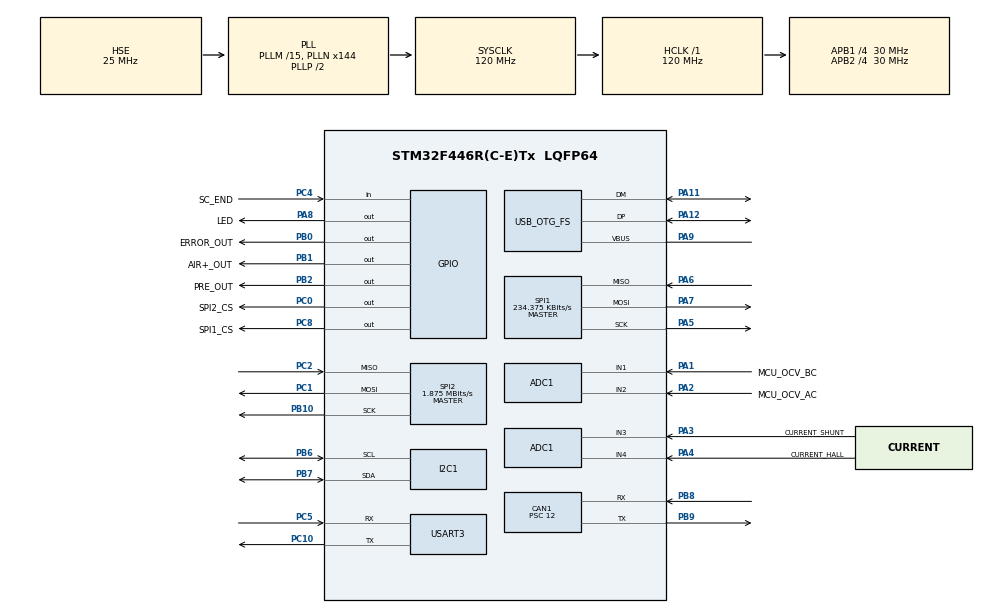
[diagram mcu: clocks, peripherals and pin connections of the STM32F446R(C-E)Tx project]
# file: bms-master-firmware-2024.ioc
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ADC1.Channel-0\#ChannelRegularConversion=ADC_CHANNEL_1
ADC1.Channel-1\#ChannelRegularConversion=ADC_CHANNEL_2
ADC1.Channel-2\#ChannelRegularConversion=ADC_CHANNEL_4
ADC1.ContinuousConvMode=ENABLE
ADC1.DMAContinuousRequests=ENABLE
ADC1.NbrOfConversion=3
ADC1.NbrOfConversionFlag=1
ADC1.Rank-0\#ChannelRegularConversion=1
ADC1.Rank-1\#ChannelRegularConversion=2
ADC1.Rank-2\#ChannelRegularConversion=3
ADC1.SamplingTime-0\#ChannelRegularConversion=ADC_SAMPLETIME_112CYCLES
ADC1.SamplingTime-1\#ChannelRegularConversion=ADC_SAMPLETIME_112CYCLES
ADC1.SamplingTime-2\#ChannelRegularConversion=ADC_SAMPLETIME_112CYCLES
ADC1.master=1
CAN1.BS1=CAN_BS1_3TQ
CAN1.BS2=CAN_BS2_1TQ
CAN1.CalculateBaudRate=500000
CAN1.CalculateTimeBit=2000
CAN1.CalculateTimeQuantum=400.0
CAN1.Mode=CAN_MODE_NORMAL
CAN1.Prescaler=12
Dma.ADC1.0.Direction=DMA_PERIPH_TO_MEMORY
Dma.ADC1.0.FIFOMode=DMA_FIFOMODE_DISABLE
Dma.ADC1.0.Instance=DMA2_Stream0
Dma.ADC1.0.MemDataAlignment=DMA_MDATAALIGN_HALFWORD
Dma.ADC1.0.MemInc=DMA_MINC_ENABLE
Dma.ADC1.0.Mode=DMA_CIRCULAR
Dma.ADC1.0.PeriphDataAlignment=DMA_PDATAALIGN_HALFWORD
Dma.ADC1.0.PeriphInc=DMA_PINC_DISABLE
Dma.ADC1.0.Priority=DMA_PRIORITY_LOW
Dma.Request0=ADC1
I2C1.I2C_Mode=I2C_Fast
Mcu.Family=STM32F4
Mcu.Name=STM32F446R(C-E)Tx
Mcu.Package=LQFP64
NVIC.ADC_IRQn=true\:0\:0\:true\:false\:true\:true\:true\:true
NVIC.CAN1_RX0_IRQn=true\:6\:0\:true\:false\:true\:true\:true\:true
NVIC.CAN1_RX1_IRQn=true\:6\:0\:true\:false\:true\:true\:true\:true
NVIC.DMA2_Stream0_IRQn=true\:0\:0\:false\:false\:true\:false\:true\:true
NVIC.OTG_FS_IRQn=true\:5\:0\:true\:false\:true\:false\:true\:true
NVIC.PriorityGroup=NVIC_PRIORITYGROUP_4
NVIC.TIM6_DAC_IRQn=true\:15\:0\:false\:false\:true\:false\:true\:true
NVIC.TimeBase=TIM6_DAC_IRQn
NVIC.TimeBaseIP=TIM6
PA1.GPIO_Label=MCU_OCV_BC
PA1.Signal=ADCx_IN1
PA11.Mode=Device_Only
PA11.Signal=USB_OTG_FS_DM
PA12.Mode=Device_Only
PA12.Signal=USB_OTG_FS_DP
PA13.Mode=Serial_Wire
PA13.Signal=SYS_JTMS-SWDIO
PA14.Mode=Serial_Wire
PA14.Signal=SYS_JTCK-SWCLK
PA2.GPIO_Label=MCU_OCV_AC
PA2.Signal=ADCx_IN2
PA3.GPIO_Label=CURRENT_SHUNT
PA3.Signal=ADCx_IN3
PA4.GPIO_Label=CURRENT_HALL
PA4.Signal=ADCx_IN4
PA5.Mode=Full_Duplex_Master
PA5.Signal=SPI1_SCK
PA6.Mode=Full_Duplex_Master
PA6.Signal=SPI1_MISO
PA7.Mode=Full_Duplex_Master
PA7.Signal=SPI1_MOSI
PA8.GPIO_Label=LED
PA8.GPIO_Speed=GPIO_SPEED_FREQ_VERY_HIGH
PA8.Signal=GPIO_Output
PA9.Mode=Activate_VBUS
PA9.Signal=USB_OTG_FS_VBUS
PB0.GPIO_Label=ERROR_OUT
PB0.PinState=GPIO_PIN_RESET
PB0.Signal=GPIO_Output
PB1.GPIO_Label=AIR+_OUT
PB1.Signal=GPIO_Output
PB10.Mode=Full_Duplex_Master
PB10.Signal=SPI2_SCK
PB2.GPIO_Label=PRE_OUT
PB2.Signal=GPIO_Output
PB6.Mode=I2C
PB6.Signal=I2C1_SCL
PB7.Mode=I2C
PB7.Signal=I2C1_SDA
PB8.Mode=CAN_Activate
PB8.Signal=CAN1_RX
PB9.Mode=CAN_Activate
PB9.Signal=CAN1_TX
PC0.GPIO_Label=SPI2_CS
PC0.GPIO_PuPd=GPIO_NOPULL
PC0.GPIO_Speed=GPIO_SPEED_FREQ_VERY_HIGH
PC0.PinState=GPIO_PIN_SET
PC0.Signal=GPIO_Output
PC1.Mode=Full_Duplex_Master
PC1.Signal=SPI2_MOSI
PC10.Mode=Asynchronous
PC10.Signal=USART3_TX
PC2.Mode=Full_Duplex_Master
PC2.Signal=SPI2_MISO
PC4.GPIO_Label=SC_END
PC4.Signal=GPIO_Input
PC5.Mode=Asynchronous
PC5.Signal=USART3_RX
PC8.GPIO_Label=SPI1_CS
PC8.GPIO_ModeDefaultOutputPP=GPIO_MODE_OUTPUT_PP
PC8.GPIO_PuPd=GPIO_NOPULL
PC8.GPIO_Speed=GPIO_SPEED_FREQ_VERY_HIGH
PC8.PinState=GPIO_PIN_SET
PC8.Signal=GPIO_Output
PH0-OSC_IN.Mode=HSE-External-Oscillator
PH0-OSC_IN.Signal=RCC_OSC_IN
PH1-OSC_OUT.Mode=HSE-External-Oscillator
PH1-OSC_OUT.Signal=RCC_OSC_OUT
ProjectManager.HeapSize=0x200
ProjectManager.StackSize=0x400
ProjectManager.TargetToolchain=STM32CubeIDE
RCC.AHBFreq_Value=120000000
RCC.APB1CLKDivider=RCC_HCLK_DIV4
RCC.APB1Freq_Value=30000000
RCC.APB1TimFreq_Value=60000000
RCC.APB2CLKDivider=RCC_HCLK_DIV4
RCC.APB2Freq_Value=30000000
RCC.APB2TimFreq_Value=60000000
RCC.CortexFreq_Value=120000000
RCC.HCLKFreq_Value=120000000
RCC.HSE_Timout=3000
RCC.HSE_VALUE=25000000
RCC.PLLM=15
RCC.PLLN=144
RCC.PLLQ=5
RCC.PLLSAIM=12
RCC.PLLSAIN=96
RCC.PLLSAIP=RCC_PLLSAIP_DIV4
RCC.PLLSourceVirtual=RCC_PLLSOURCE_HSE
RCC.SYSCLKFreq_VALUE=120000000
RCC.SYSCLKSource=RCC_SYSCLKSOURCE_PLLCLK
RCC.USBFreq_Value=48000000
RCC.VCOOutputFreq_Value=240000000
SH.ADCx_IN1.0=ADC1_IN1,IN1
SH.ADCx_IN2.0=ADC1_IN2,IN2
SH.ADCx_IN3.0=ADC1_IN3,IN3
SH.ADCx_IN4.0=ADC1_IN4,IN4
SPI1.BaudRatePrescaler=SPI_BAUDRATEPRESCALER_128
SPI1.CLKPhase=SPI_PHASE_1EDGE
SPI1.CLKPolarity=SPI_POLARITY_LOW
SPI1.CalculateBaudRate=234.375 KBits/s
SPI1.Direction=SPI_DIRECTION_2LINES
SPI1.FirstBit=SPI_FIRSTBIT_MSB
SPI1.Mode=SPI_MODE_MASTER
SPI1.VirtualType=VM_MASTER
SPI2.BaudRatePrescaler=SPI_BAUDRATEPRESCALER_16
SPI2.CalculateBaudRate=1.875 MBits/s
SPI2.Direction=SPI_DIRECTION_2LINES
SPI2.Mode=SPI_MODE_MASTER
SPI2.VirtualType=VM_MASTER
TIM1.Prescaler=60000-1
TIM2.Period=1000-1
TIM2.Prescaler=56
USART3.VirtualMode=VM_ASYNC
USB_DEVICE.CLASS_NAME_FS=CDC
USB_DEVICE.PRODUCT_STRING_CDC_FS=ITU RACING BMS
USB_DEVICE.VirtualMode-CDC_FS=Cdc
USB_DEVICE.VirtualModeFS=Cdc_FS
USB_OTG_FS.VirtualMode=Device_Only
VP_SYS_VS_tim6.Mode=TIM6
VP_TIM1_VS_ClockSourceINT.Mode=Internal
VP_TIM2_VS_ClockSourceINT.Mode=Internal
VP_USB_DEVICE_VS_USB_DEVICE_CDC_FS.Mode=CDC_FS
board=custom

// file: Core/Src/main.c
/* USER CODE BEGIN Header */
/**
 ******************************************************************************
 * @file           : main.c
 * @brief          : Main program body
 ******************************************************************************
 * @attention
 *
 * Copyright (c) 2024 STMicroelectronics.
 * All rights reserved.
 *
 * This software is licensed under terms that can be found in the LICENSE file
 * in the root directory of this software component.
 * If no LICENSE file comes with this software, it is provided AS-IS.
 *
 ******************************************************************************
 */
/* USER CODE END Header */
#include "main.h"
#include "usb_device.h"

/* USER CODE BEGIN Includes */
#include "ADBMS.h"
#include "stdio.h"
#include "String.h"
#include "usbd_cdc_if.h"
#include "adBms6830Data.h"

//SoC
#include "BatterySOCEstimationV2.h"
#include "rtwtypes.h"

//FREERTOS
#include "FreeRTOS.h"
//#include "SEGGER_SYSVIEW.h"
#include "task.h"

/* USER CODE END Includes */

/* USER CODE BEGIN PD */
#define total_ic 6

extern I2C_HandleTypeDef hi2c1;

#define EEPROM_I2C &hi2c1

#define EEPROM_ADDR 0xA0

#define PAGE_SIZE 128     // in Bytes
#define PAGE_NUM  512    // number of pages
#define PUTCHAR_PROTOTYPE int __io_putchar(int ch)

/* USER CODE END PD */

ADC_HandleTypeDef hadc1;
DMA_HandleTypeDef hdma_adc1;

CAN_HandleTypeDef hcan1;

I2C_HandleTypeDef hi2c1;

SPI_HandleTypeDef hspi1;
SPI_HandleTypeDef hspi2;

TIM_HandleTypeDef htim1;
TIM_HandleTypeDef htim2;

UART_HandleTypeDef huart3;

/* USER CODE BEGIN PV */
cell_asic ic[total_ic];

uint16_t adc = 0;
uint16_t convCount = 0;
uint32_t adc_data[3];
uint16_t adc_buffer[3];
uint16_t analogAveragingBuffer[500][3] = {0};

uint16_t MAINBUFFER[40] = { 0 };

CAN_TxHeaderTypeDef TxHeader;
CAN_RxHeaderTypeDef RxHeader;

uint8_t RxData[8];
uint8_t TxData[8];
uint32_t TxMailbox;

uint8_t* usbbuf;
uint8_t usblen;

uint8_t VCUflag = 0;
uint8_t Chargerflag = 0;

uint8_t VehicleMode = 0;

//FREERTOS
TaskHandle_t VoltageRead;
TaskHandle_t Temp_OWire;
TaskHandle_t Measure_Precharge;
TaskHandle_t ChargeControl;
TaskHandle_t VCUcom;
TaskHandle_t USBTASK;
TaskHandle_t SoCTASK;

/* USER CODE END PV */

void SystemClock_Config(void);
static void MX_GPIO_Init(void);
static void MX_DMA_Init(void);
static void MX_ADC1_Init(void);
static void MX_TIM2_Init(void);
static void MX_SPI1_Init(void);
static void MX_SPI2_Init(void);
static void MX_I2C1_Init(void);
static void MX_USART3_UART_Init(void);
static void MX_TIM1_Init(void);
static void MX_CAN1_Init(void);
/* USER CODE BEGIN PFP */
static void vVoltageRead(void *parameter);
static void vTemp_OWire(void *parameter);
static void vMeasure_Precharge(void *parameter);
static void vChargeControl(void *parameter);
static void vVCUcom(void *parameter);
static void vUSBTASK(void *parameter);
static void vSoCTASK(void *parameter);
void faultLatch();
uint8_t IsSCActive();

/* USER CODE END PFP */

/* USER CODE BEGIN 0 */

#define DEV_ADDR 0xa0
uint8_t dataw1[] = "vay anam babam be burasi resmen bir harika\n";
uint8_t dataw2[] = "agalarlabms";
float dataw3 = 123.31;

// 5. sayfanın ilk iki byte'ı bozuk.

uint8_t datar1[100];
uint8_t datar2[100];
float datar3;

float volt_bc = 0;
float volt_ac = 0;

/* USER CODE END 0 */

int main(void)
{

  /* MCU Configuration--------------------------------------------------------*/

  /* Reset of all peripherals, Initializes the Flash interface and the Systick. */
  HAL_Init();

  /* Configure the system clock */
  SystemClock_Config();

  /* Initialize all configured peripherals */
  MX_GPIO_Init();
  MX_DMA_Init();
  MX_ADC1_Init();
  MX_TIM2_Init();
  MX_SPI1_Init();
  MX_SPI2_Init();
  MX_I2C1_Init();
  MX_USART3_UART_Init();
  MX_TIM1_Init();
  MX_USB_DEVICE_Init();
  MX_CAN1_Init();
  /* USER CODE BEGIN 2 */

  HAL_Delay(1000);

//  MAINBUFFER[CHARGER_SET_VOLTAGE] = 4030;
//  MAINBUFFER[CHARGER_SET_CURRENT] = 60;
//  MAINBUFFER[ALLOWED_DISBALANCE] = 100;
//  MAINBUFFER[CHARGE_CURRENT] =(uint16_t) -60;
//  MAINBUFFER[PRECHARGE_PERCENTAGE] = 90;
//  MAINBUFFER[PRECHARGE_TIMEOUT] = 4000;
//  MAINBUFFER[CHARGE_OVER_CURRENT_TRESHOLD] = -500;
//  MAINBUFFER[DISCHARGE_OVER_CURRENT_TRESHOLD] = 3500;
//  MAINBUFFER[OVER_VOLTAGE_ERROR_DELAY] = 100;
//  MAINBUFFER[UNDER_VOLTAGE_ERROR_DELAY] = 100;
//  MAINBUFFER[OVER_CURRENT_ERROR_DELAY] = 100;
//  MAINBUFFER[OPEN_WIRE_ERROR_DELAY] = 100;
//  MAINBUFFER[HEAT_ERROR_DELAY] = 100;
//
//
//   EEPROM_SetConfigs((uint8_t *) MAINBUFFER, sizeof(MAINBUFFER));
//

    EEPROM_GetConfigs((uint8_t *) MAINBUFFER, sizeof(MAINBUFFER));
    MAINBUFFER[34]=-31.31;
    MAINBUFFER[33]= 4000;
    MAINBUFFER[CHARGER_SET_VOLTAGE] = 40310;

	HAL_ADC_Start_DMA(&hadc1,  adc_buffer, 3);
	HAL_CAN_Start(&hcan1);
	HAL_CAN_ActivateNotification(&hcan1, CAN_IT_RX_FIFO0_MSG_PENDING);
//	HAL_GPIO_WritePin(GPIO, GPIO_Pin, PinState)
	TxHeader.IDE = CAN_ID_STD;
	TxHeader.StdId = 0x00; //değişecek
	TxHeader.RTR = CAN_RTR_DATA;
	TxHeader.DLC = 8; //değişebilir

//	if(HAL_CAN_AddTxMessage(&hcan1, &TxHeader, TxData, &TxMailbox) != HAL_OK){
//		Error_Handler();
//	}

//	HAL_TIM_Base_Start(&htim1);

	adBms6830_init_config(total_ic, &ic[0]);

//	CDC_Transmit_FS(txdata, sizeof("Hello World from USB CDC\n"));
//while(1){
//
//		adBms6830_start_raux_voltage_measurment(total_ic,&ic[0]);
//				adBms6830_read_raux_voltages(total_ic,&ic[0]);
//
////				adBms6830_start_adc_cell_voltage_measurment(total_ic);
////				adBms6830_read_cell_voltages(total_ic,&ic[0]);
////		adBms6830tempMesurementand_open_wire_detection(total_ic,&ic[0]);
////				HAL_Delay(500);
////		for(uint8_t icCounter = 0; icCounter < 5; icCounter++){
////			adBmsCsLow();
////			HAL_Delay(4);
////			adBmsCsHigh();
//			HAL_Delay(150);
//}

//	union  CAN_Union {
//		uint8_t sendBuffer8bit[8];
//	    uint16_t sendBuffer16bit[4];
//	}canSend;
//
//	HAL_GPIO_WritePin(ERROR_OUT_GPIO_Port, ERROR_OUT_Pin, 1);
//	while(1){
////		TxHeader.IDE = CAN_ID_STD;
////		TxHeader.StdId = BMS_CAN_ID_VOLTAGES;
////		canSend.sendBuffer16bit[0] = 0X31;
////		canSend.sendBuffer16bit[1] = 0X31;
////		canSend.sendBuffer16bit[2] = 0X31;
////		canSend.sendBuffer16bit[3] = 0X31;
////		HAL_CAN_AddTxMessage(&hcan1, &TxHeader, canSend.sendBuffer8bit, &TxMailbox);
//
//		HAL_Delay(3000);
//
//		HAL_GPIO_TogglePin(PRE_OUT_GPIO_Port, PRE_OUT_Pin);
//
//		HAL_GPIO_TogglePin(AIR__OUT_GPIO_Port, AIR__OUT_Pin);
//
//
//		}
//
//		HAL_GPIO_WritePin(ERROR_OUT_GPIO_Port, ERROR_OUT_Pin, 0);
//		HAL_Delay(500);
//		HAL_GPIO_WritePin(ERROR_OUT_GPIO_Port, ERROR_OUT_Pin, 1);
//		HAL_Delay(500);
//
//
//	}

	//FREERTOS TASK CREATION PART

	//SEGGER_SYSVIEW_Conf();
	//SEGGER_SYSVIEW_Start();

	xTaskCreate(vVoltageRead, "VoltageRead", 300, NULL, 2, &VoltageRead);
	xTaskCreate(vTemp_OWire, "Temp_OWire", 400, NULL, 3, &Temp_OWire);
	xTaskCreate(vMeasure_Precharge, "Measure_Precharge", 200, NULL, 1, &Measure_Precharge);
	xTaskCreate(vChargeControl, "ChargeControl", 200, NULL, 5, &ChargeControl);
	xTaskCreate(vVCUcom, "VCUcom", 200, NULL, 6, &VCUcom);
	xTaskCreate(vUSBTASK, "USBTASK", 200, NULL, 15, &USBTASK);
	xTaskCreate(vSoCTASK, "SoCTASK", 200, NULL, 4, &SoCTASK);
	vTaskStartScheduler();

  /* USER CODE END 2 */

  /* Infinite loop */
	while (1) {

	}
}

void SystemClock_Config(void)
{
  RCC_OscInitTypeDef RCC_OscInitStruct = {0};
  RCC_ClkInitTypeDef RCC_ClkInitStruct = {0};

  /** Configure the main internal regulator output voltage
  */
  __HAL_RCC_PWR_CLK_ENABLE();
  __HAL_PWR_VOLTAGESCALING_CONFIG(PWR_REGULATOR_VOLTAGE_SCALE3);

  /** Initializes the RCC Oscillators according to the specified parameters
  * in the RCC_OscInitTypeDef structure.
  */
  RCC_OscInitStruct.OscillatorType = RCC_OSCILLATORTYPE_HSE;
  RCC_OscInitStruct.HSEState = RCC_HSE_ON;
  RCC_OscInitStruct.PLL.PLLState = RCC_PLL_ON;
  RCC_OscInitStruct.PLL.PLLSource = RCC_PLLSOURCE_HSE;
  RCC_OscInitStruct.PLL.PLLM = 15;
  RCC_OscInitStruct.PLL.PLLN = 144;
  RCC_OscInitStruct.PLL.PLLP = RCC_PLLP_DIV2;
  RCC_OscInitStruct.PLL.PLLQ = 5;
  RCC_OscInitStruct.PLL.PLLR = 2;
  if (HAL_RCC_OscConfig(&RCC_OscInitStruct) != HAL_OK)
  {
    Error_Handler();
  }

  /** Initializes the CPU, AHB and APB buses clocks
  */
  RCC_ClkInitStruct.ClockType = RCC_CLOCKTYPE_HCLK|RCC_CLOCKTYPE_SYSCLK
                              |RCC_CLOCKTYPE_PCLK1|RCC_CLOCKTYPE_PCLK2;
  RCC_ClkInitStruct.SYSCLKSource = RCC_SYSCLKSOURCE_PLLCLK;
  RCC_ClkInitStruct.AHBCLKDivider = RCC_SYSCLK_DIV1;
  RCC_ClkInitStruct.APB1CLKDivider = RCC_HCLK_DIV4;
  RCC_ClkInitStruct.APB2CLKDivider = RCC_HCLK_DIV4;

  if (HAL_RCC_ClockConfig(&RCC_ClkInitStruct, FLASH_LATENCY_3) != HAL_OK)
  {
    Error_Handler();
  }
}

static void MX_ADC1_Init(void)
{

  ADC_ChannelConfTypeDef sConfig = {0};

  /** Configure the global features of the ADC (Clock, Resolution, Data Alignment and number of conversion)
  */
  hadc1.Instance = ADC1;
  hadc1.Init.ClockPrescaler = ADC_CLOCK_SYNC_PCLK_DIV2;
  hadc1.Init.Resolution = ADC_RESOLUTION_12B;
  hadc1.Init.ScanConvMode = ENABLE;
  hadc1.Init.ContinuousConvMode = ENABLE;
  hadc1.Init.DiscontinuousConvMode = DISABLE;
  hadc1.Init.ExternalTrigConvEdge = ADC_EXTERNALTRIGCONVEDGE_NONE;
  hadc1.Init.ExternalTrigConv = ADC_SOFTWARE_START;
  hadc1.Init.DataAlign = ADC_DATAALIGN_RIGHT;
  hadc1.Init.NbrOfConversion = 3;
  hadc1.Init.DMAContinuousRequests = ENABLE;
  hadc1.Init.EOCSelection = ADC_EOC_SINGLE_CONV;
  if (HAL_ADC_Init(&hadc1) != HAL_OK)
  {
    Error_Handler();
  }

  /** Configure for the selected ADC regular channel its corresponding rank in the sequencer and its sample time.
  */
  sConfig.Channel = ADC_CHANNEL_1;
  sConfig.Rank = 1;
  sConfig.SamplingTime = ADC_SAMPLETIME_112CYCLES;
  if (HAL_ADC_ConfigChannel(&hadc1, &sConfig) != HAL_OK)
  {
    Error_Handler();
  }

  /** Configure for the selected ADC regular channel its corresponding rank in the sequencer and its sample time.
  */
  sConfig.Channel = ADC_CHANNEL_2;
  sConfig.Rank = 2;
  if (HAL_ADC_ConfigChannel(&hadc1, &sConfig) != HAL_OK)
  {
    Error_Handler();
  }

  /** Configure for the selected ADC regular channel its corresponding rank in the sequencer and its sample time.
  */
  sConfig.Channel = ADC_CHANNEL_4;
  sConfig.Rank = 3;
  if (HAL_ADC_ConfigChannel(&hadc1, &sConfig) != HAL_OK)
  {
    Error_Handler();
  }

}

static void MX_CAN1_Init(void)
{

  hcan1.Instance = CAN1;
  hcan1.Init.Prescaler = 12;
  hcan1.Init.Mode = CAN_MODE_NORMAL;
  hcan1.Init.SyncJumpWidth = CAN_SJW_1TQ;
  hcan1.Init.TimeSeg1 = CAN_BS1_3TQ;
  hcan1.Init.TimeSeg2 = CAN_BS2_1TQ;
  hcan1.Init.TimeTriggeredMode = DISABLE;
  hcan1.Init.AutoBusOff = DISABLE;
  hcan1.Init.AutoWakeUp = DISABLE;
  hcan1.Init.AutoRetransmission = DISABLE;
  hcan1.Init.ReceiveFifoLocked = DISABLE;
  hcan1.Init.TransmitFifoPriority = DISABLE;
  if (HAL_CAN_Init(&hcan1) != HAL_OK)
  {
    Error_Handler();
  }
  /* USER CODE BEGIN CAN1_Init 2 */
  CAN_FilterTypeDef canfilterconfig;

  canfilterconfig.FilterActivation = CAN_FILTER_ENABLE;
  canfilterconfig.FilterBank = 18;  // which filter bank to use from the assigned ones
  canfilterconfig.FilterFIFOAssignment = CAN_FILTER_FIFO0;
  canfilterconfig.FilterIdHigh = 0x00;
  canfilterconfig.FilterIdLow = 0x00;
  canfilterconfig.FilterMaskIdHigh = 0x00;
  canfilterconfig.FilterMaskIdLow = 0x00;
  canfilterconfig.FilterMode = CAN_FILTERMODE_IDMASK;
  canfilterconfig.FilterScale = CAN_FILTERSCALE_32BIT;
  canfilterconfig.SlaveStartFilterBank = 20;  // how many filters to assign to the CAN1 (master can)

  HAL_CAN_ConfigFilter(&hcan1, &canfilterconfig);
  /* USER CODE END CAN1_Init 2 */

}

static void MX_I2C1_Init(void)
{

  hi2c1.Instance = I2C1;
  hi2c1.Init.ClockSpeed = 400000;
  hi2c1.Init.DutyCycle = I2C_DUTYCYCLE_2;
  hi2c1.Init.OwnAddress1 = 0;
  hi2c1.Init.AddressingMode = I2C_ADDRESSINGMODE_7BIT;
  hi2c1.Init.DualAddressMode = I2C_DUALADDRESS_DISABLE;
  hi2c1.Init.OwnAddress2 = 0;
  hi2c1.Init.GeneralCallMode = I2C_GENERALCALL_DISABLE;
  hi2c1.Init.NoStretchMode = I2C_NOSTRETCH_DISABLE;
  if (HAL_I2C_Init(&hi2c1) != HAL_OK)
  {
    Error_Handler();
  }

}

static void MX_SPI1_Init(void)
{

  /* SPI1 parameter configuration*/
  hspi1.Instance = SPI1;
  hspi1.Init.Mode = SPI_MODE_MASTER;
  hspi1.Init.Direction = SPI_DIRECTION_2LINES;
  hspi1.Init.DataSize = SPI_DATASIZE_8BIT;
  hspi1.Init.CLKPolarity = SPI_POLARITY_LOW;
  hspi1.Init.CLKPhase = SPI_PHASE_1EDGE;
  hspi1.Init.NSS = SPI_NSS_SOFT;
  hspi1.Init.BaudRatePrescaler = SPI_BAUDRATEPRESCALER_128;
  hspi1.Init.FirstBit = SPI_FIRSTBIT_MSB;
  hspi1.Init.TIMode = SPI_TIMODE_DISABLE;
  hspi1.Init.CRCCalculation = SPI_CRCCALCULATION_DISABLE;
  hspi1.Init.CRCPolynomial = 10;
  if (HAL_SPI_Init(&hspi1) != HAL_OK)
  {
    Error_Handler();
  }

}

static void MX_SPI2_Init(void)
{

  /* SPI2 parameter configuration*/
  hspi2.Instance = SPI2;
  hspi2.Init.Mode = SPI_MODE_MASTER;
  hspi2.Init.Direction = SPI_DIRECTION_2LINES;
  hspi2.Init.DataSize = SPI_DATASIZE_8BIT;
  hspi2.Init.CLKPolarity = SPI_POLARITY_LOW;
  hspi2.Init.CLKPhase = SPI_PHASE_1EDGE;
  hspi2.Init.NSS = SPI_NSS_SOFT;
  hspi2.Init.BaudRatePrescaler = SPI_BAUDRATEPRESCALER_16;
  hspi2.Init.FirstBit = SPI_FIRSTBIT_MSB;
  hspi2.Init.TIMode = SPI_TIMODE_DISABLE;
  hspi2.Init.CRCCalculation = SPI_CRCCALCULATION_DISABLE;
  hspi2.Init.CRCPolynomial = 10;
  if (HAL_SPI_Init(&hspi2) != HAL_OK)
  {
    Error_Handler();
  }

}

static void MX_TIM1_Init(void)
{

  TIM_ClockConfigTypeDef sClockSourceConfig = {0};
  TIM_MasterConfigTypeDef sMasterConfig = {0};

  htim1.Instance = TIM1;
  htim1.Init.Prescaler = 60000-1;
  htim1.Init.CounterMode = TIM_COUNTERMODE_UP;
  htim1.Init.Period = 65535;
  htim1.Init.ClockDivision = TIM_CLOCKDIVISION_DIV1;
  htim1.Init.RepetitionCounter = 0;
  htim1.Init.AutoReloadPreload = TIM_AUTORELOAD_PRELOAD_DISABLE;
  if (HAL_TIM_Base_Init(&htim1) != HAL_OK)
  {
    Error_Handler();
  }
  sClockSourceConfig.ClockSource = TIM_CLOCKSOURCE_INTERNAL;
  if (HAL_TIM_ConfigClockSource(&htim1, &sClockSourceConfig) != HAL_OK)
  {
    Error_Handler();
  }
  sMasterConfig.MasterOutputTrigger = TIM_TRGO_RESET;
  sMasterConfig.MasterSlaveMode = TIM_MASTERSLAVEMODE_DISABLE;
  if (HAL_TIMEx_MasterConfigSynchronization(&htim1, &sMasterConfig) != HAL_OK)
  {
    Error_Handler();
  }

}

static void MX_TIM2_Init(void)
{

  TIM_ClockConfigTypeDef sClockSourceConfig = {0};
  TIM_MasterConfigTypeDef sMasterConfig = {0};

  htim2.Instance = TIM2;
  htim2.Init.Prescaler = 56;
  htim2.Init.CounterMode = TIM_COUNTERMODE_UP;
  htim2.Init.Period = 1000-1;
  htim2.Init.ClockDivision = TIM_CLOCKDIVISION_DIV1;
  htim2.Init.AutoReloadPreload = TIM_AUTORELOAD_PRELOAD_DISABLE;
  if (HAL_TIM_Base_Init(&htim2) != HAL_OK)
  {
    Error_Handler();
  }
  sClockSourceConfig.ClockSource = TIM_CLOCKSOURCE_INTERNAL;
  if (HAL_TIM_ConfigClockSource(&htim2, &sClockSourceConfig) != HAL_OK)
  {
    Error_Handler();
  }
  sMasterConfig.MasterOutputTrigger = TIM_TRGO_RESET;
  sMasterConfig.MasterSlaveMode = TIM_MASTERSLAVEMODE_DISABLE;
  if (HAL_TIMEx_MasterConfigSynchronization(&htim2, &sMasterConfig) != HAL_OK)
  {
    Error_Handler();
  }

}

static void MX_USART3_UART_Init(void)
{

  huart3.Instance = USART3;
  huart3.Init.BaudRate = 115200;
  huart3.Init.WordLength = UART_WORDLENGTH_8B;
  huart3.Init.StopBits = UART_STOPBITS_1;
  huart3.Init.Parity = UART_PARITY_NONE;
  huart3.Init.Mode = UART_MODE_TX_RX;
  huart3.Init.HwFlowCtl = UART_HWCONTROL_NONE;
  huart3.Init.OverSampling = UART_OVERSAMPLING_16;
  if (HAL_UART_Init(&huart3) != HAL_OK)
  {
    Error_Handler();
  }

}

static void MX_DMA_Init(void)
{

  /* DMA controller clock enable */
  __HAL_RCC_DMA2_CLK_ENABLE();

  /* DMA interrupt init */
  /* DMA2_Stream0_IRQn interrupt configuration */
  HAL_NVIC_SetPriority(DMA2_Stream0_IRQn, 0, 0);
  HAL_NVIC_EnableIRQ(DMA2_Stream0_IRQn);

}

static void MX_GPIO_Init(void)
{
  GPIO_InitTypeDef GPIO_InitStruct = {0};

  /* GPIO Ports Clock Enable */
  __HAL_RCC_GPIOH_CLK_ENABLE();
  __HAL_RCC_GPIOC_CLK_ENABLE();
  __HAL_RCC_GPIOA_CLK_ENABLE();
  __HAL_RCC_GPIOB_CLK_ENABLE();

  /*Configure GPIO pin Output Level */
  HAL_GPIO_WritePin(GPIOC, SPI2_CS_Pin|SPI1_CS_Pin, GPIO_PIN_SET);

  /*Configure GPIO pin Output Level */
  HAL_GPIO_WritePin(GPIOB, ERROR_OUT_Pin|AIR__OUT_Pin|PRE_OUT_Pin, GPIO_PIN_RESET);

  /*Configure GPIO pin Output Level */
  HAL_GPIO_WritePin(LED_GPIO_Port, LED_Pin, GPIO_PIN_RESET);

  /*Configure GPIO pins : SPI2_CS_Pin SPI1_CS_Pin */
  GPIO_InitStruct.Pin = SPI2_CS_Pin|SPI1_CS_Pin;
  GPIO_InitStruct.Mode = GPIO_MODE_OUTPUT_PP;
  GPIO_InitStruct.Pull = GPIO_NOPULL;
  GPIO_InitStruct.Speed = GPIO_SPEED_FREQ_VERY_HIGH;
  HAL_GPIO_Init(GPIOC, &GPIO_InitStruct);

  /*Configure GPIO pin : SC_END_Pin */
  GPIO_InitStruct.Pin = SC_END_Pin;
  GPIO_InitStruct.Mode = GPIO_MODE_INPUT;
  GPIO_InitStruct.Pull = GPIO_NOPULL;
  HAL_GPIO_Init(SC_END_GPIO_Port, &GPIO_InitStruct);

  /*Configure GPIO pins : ERROR_OUT_Pin AIR__OUT_Pin PRE_OUT_Pin */
  GPIO_InitStruct.Pin = ERROR_OUT_Pin|AIR__OUT_Pin|PRE_OUT_Pin;
  GPIO_InitStruct.Mode = GPIO_MODE_OUTPUT_PP;
  GPIO_InitStruct.Pull = GPIO_NOPULL;
  GPIO_InitStruct.Speed = GPIO_SPEED_FREQ_LOW;
  HAL_GPIO_Init(GPIOB, &GPIO_InitStruct);

  /*Configure GPIO pin : LED_Pin */
  GPIO_InitStruct.Pin = LED_Pin;
  GPIO_InitStruct.Mode = GPIO_MODE_OUTPUT_PP;
  GPIO_InitStruct.Pull = GPIO_NOPULL;
  GPIO_InitStruct.Speed = GPIO_SPEED_FREQ_VERY_HIGH;
  HAL_GPIO_Init(LED_GPIO_Port, &GPIO_InitStruct);

}

/* USER CODE BEGIN 4 */

void HAL_CAN_RxFifo0MsgPendingCallback(CAN_HandleTypeDef *hcan){

	BaseType_t pxHigherPriorityTaskWoken = pdFALSE;

	if(HAL_CAN_GetRxMessage(hcan, CAN_RX_FIFO0, &RxHeader, RxData)!= HAL_OK)
	{
		Error_Handler();
	}

	if(RxHeader.IDE == CAN_ID_STD)
	{
		if(RxHeader.StdId == VCU_ID)
		{
			vTaskNotifyGiveFromISR(VCUcom,&pxHigherPriorityTaskWoken);
			portYIELD_FROM_ISR(pxHigherPriorityTaskWoken);
			VCUflag = 1;
		}
	}
	else
	{
		if(RxHeader.ExtId == CHARGER_ID)
		{
			vTaskNotifyGiveFromISR(ChargeControl,&pxHigherPriorityTaskWoken);
			portYIELD_FROM_ISR(pxHigherPriorityTaskWoken);
			Chargerflag = 1;
		}

	}

}

static void vVoltageRead(void *parameter) {

	uint8_t pecflag = 0;
	uint8_t underVoltageflag = 0;
	uint8_t overVoltageflag = 0;
	uint8_t dummyflag = 0;

	uint32_t SlaveOpenWiretick = 0;
	uint32_t OverVoltagetick = 0;
	uint32_t UnderVoltagetick = 0;

	float TotalVoltage = 0;
	float MaxCellVoltage = 0;
	float MinCellVoltage = 0;

	for (;;) {

		//SECTION OF VOLTAGE READING AND DETECTION OF OVER AND UNDER VOLTAGE
		//
		//

		taskENTER_CRITICAL();
		adBmsWakeupIc(total_ic);
		adBmsWriteData(total_ic, &ic[0], WRCFGA, Config, A);
		adBmsWriteData(total_ic, &ic[0], WRCFGB, Config, B);
		adBmsWakeupIc(total_ic);
		adBms6830_Adcv_ALL(REDUNDANT_MEASUREMENT, CONTINUOUS, DISCHARGE_PERMITTED,
				RESET_FILTER, CELL_OPEN_WIRE_DETECTION,total_ic);
		vTaskDelay(1); // ADCs are updated at their conversion rate is 1ms
		adBms6830_Adcv_ALL(RD_ON, CONTINUOUS, DISCHARGE_PERMITTED, RESET_FILTER,
				CELL_OPEN_WIRE_DETECTION,total_ic);
		vTaskDelay(1); // ADCs are updated at their conversion rate is 1ms
		adBmsReadData(total_ic, &ic[0], RDCVA, Cell, A);
		adBmsReadData(total_ic, &ic[0], RDCVB, Cell, B);
		adBmsReadData(total_ic, &ic[0], RDCVC, Cell, C);
		adBmsReadData(total_ic, &ic[0], RDCVD, Cell, D);
		adBmsReadData(total_ic, &ic[0], RDCVE, Cell, E);
		adBmsReadData(total_ic, &ic[0], RDCVF, Cell, F);
		taskEXIT_CRITICAL();

		for (uint8_t icCounter = 0; icCounter < total_ic; icCounter++) {
			for (uint8_t cellCounter = 0; cellCounter < 16; cellCounter++) {
				//openwire check
				if (ic[icCounter].cccrc.cell_pec == 1){
					pecflag = 1;
				}
				else {
					if(ic[icCounter].cell.c_codes[cellCounter]>0){
						ic[icCounter].mesured_cell_voltages[cellCounter] =
								getVoltage(ic[icCounter].cell.c_codes[cellCounter]);
					}

					//printf("cell%d: %f\n", cellCounter + 1,
					//		ic[icCounter].mesured_cell_voltages[cellCounter]);

					if (ic[icCounter].mesured_cell_voltages[cellCounter] < CELL_UNDER_VOLTAGE_TRESHOLD) {
						underVoltageflag = 1;
					}

					if (ic[icCounter].mesured_cell_voltages[cellCounter] > CELL_OVER_VOLTAGE_TRESHOLD) {
						overVoltageflag = 1;
					}

					//MAINBUFFER CALCULATIONS
					if(dummyflag == 0)
					{
						MaxCellVoltage = ic[icCounter].mesured_cell_voltages[cellCounter];
						MinCellVoltage = ic[icCounter].mesured_cell_voltages[cellCounter];
						dummyflag = 1;
					}

					TotalVoltage += ic[icCounter].mesured_cell_voltages[cellCounter];

					if(ic[icCounter].mesured_cell_voltages[cellCounter] > MaxCellVoltage)
					{
						MaxCellVoltage = ic[icCounter].mesured_cell_voltages[cellCounter];
					}

					if(ic[icCounter].mesured_cell_voltages[cellCounter] < MinCellVoltage)
					{
						MinCellVoltage = ic[icCounter].mesured_cell_voltages[cellCounter];
					}
				}

			}
		}

		//MAINBUFFER LOADING

		MAINBUFFER[PACK_TOTAL_CELL_VOLTAGE] = (uint16_t) (TotalVoltage*100);
		MAINBUFFER[PACK_AVG_CELL_VOLTAGE] = (uint16_t) ((TotalVoltage/(16.0*total_ic))*100);
		MAINBUFFER[PACK_MAX_CELL_VOLTAGE] = (uint16_t) (MaxCellVoltage*100);
		MAINBUFFER[PACK_MIN_CELL_VOLTAGE] = (uint16_t) (MinCellVoltage*100);

		dummyflag = 0;
		TotalVoltage = 0;

		//FAULT PROCESS

		if (pecflag == 1) {

			if (SlaveOpenWiretick == 0) SlaveOpenWiretick = xTaskGetTickCount();
			else if(xTaskGetTickCount()-SlaveOpenWiretick >= MAINBUFFER[OPEN_WIRE_ERROR_DELAY]){
				MAINBUFFER[FAULTS] |= 1;
				faultLatch();
			}
			pecflag = 0;

		} else{

			MAINBUFFER[FAULTS] &= ~(1);
			SlaveOpenWiretick = 0;
		}

		if (underVoltageflag == 1) {
			if (UnderVoltagetick == 0) UnderVoltagetick = xTaskGetTickCount();
			else if(xTaskGetTickCount()-UnderVoltagetick >= MAINBUFFER[UNDER_VOLTAGE_ERROR_DELAY]){
				MAINBUFFER[FAULTS] |= 1 << 1;
				faultLatch();
			}
			underVoltageflag = 0;

		} else{
			MAINBUFFER[FAULTS] &= ~(1 << 1);
			UnderVoltagetick = 0;
		}

		if (overVoltageflag == 1) {
			if (OverVoltagetick == 0) OverVoltagetick = xTaskGetTickCount();
			else if(xTaskGetTickCount()-OverVoltagetick >= MAINBUFFER[OVER_VOLTAGE_ERROR_DELAY]){
				MAINBUFFER[FAULTS] |= 1 << 2;
				faultLatch();
			}
			overVoltageflag = 0;

		} else{
			MAINBUFFER[FAULTS] &= ~(1 << 2);
			OverVoltagetick = 0;
		}

		vTaskDelay(30);
		faultLatch();
	}

}
static void vTemp_OWire(void *parameter) {

	float voltage[total_ic][2][16];
	float MaxCellHeat =0;
	float MinCellHeat =0;
	float TotalCellHeat =0;
	float MaxSlaveHeat =0;

	uint8_t dummyflag = 0;
	uint8_t dummyflag2 = 0;
	uint8_t pecflag = 0;
	uint8_t cellOWflag = 0;
	uint8_t tempOWflag = 0;
	uint8_t slaveOHeatflag = 0;
	uint8_t overHeatflag = 0;
	uint8_t underHeatflag = 0;

	uint32_t SlaveOpenWiretick =0;
	uint32_t CellOpenWiretick =0;
	uint32_t TempOpenWiretick =0;
	uint32_t SlaveOverHeattick =0;
	uint32_t CellOverHeattick =0;
	uint32_t CellUnderHeattick =0;

	uint8_t ntcSellectionList[16] = { 15, 1, 14, 2, 13, 3, 12, 4, 11, 5, 10, 6,
			9, 7, 8, 0 };

	for (;;) {

		//SECTION OF CELL OPEN WIRE DETECTION
		//
		//
		taskENTER_CRITICAL();
		adBmsReadData(total_ic, &ic[0], RDSVA, S_volt, A);
		adBmsWakeupIc(total_ic);
		adBms6830_Adsv_ALL(CONTINUOUS, DISCHARGE_PERMITTED, OW_ON_EVEN_CH, total_ic);
		vTaskDelay(2);
		adBmsReadData(total_ic, &ic[0], RDSVA, S_volt, A);
		adBmsReadData(total_ic, &ic[0], RDSVB, S_volt, B);
		adBmsReadData(total_ic, &ic[0], RDSVC, S_volt, C);
		adBmsReadData(total_ic, &ic[0], RDSVD, S_volt, D);
		adBmsReadData(total_ic, &ic[0], RDSVE, S_volt, E);
		adBmsReadData(total_ic, &ic[0], RDSVF, S_volt, F);
		taskEXIT_CRITICAL();

		for (uint8_t icCounter = 0; icCounter < total_ic; icCounter++) {
			for (uint8_t cell = 0; cell < 16; cell++) {
				if (ic[icCounter].cccrc.scell_pec == 1)
					pecflag = 1;

				else {
					voltage[icCounter][0][cell] = getVoltage(
							ic[icCounter].scell.sc_codes[cell]);
					//				printf("ciftpack:%d,", (icCounter));
					//				printf("C%d=%fV,", (cell + 1), voltage[icCounter][0][cell]);
					//				printf("\n");

				}

			}
		}
		vTaskDelay(8);

		taskENTER_CRITICAL();
		adBmsWakeupIc(total_ic);
		adBms6830_Adsv_ALL(CONTINUOUS, DISCHARGE_PERMITTED, OW_ON_ODD_CH, total_ic);
		vTaskDelay(2);
		adBmsReadData(total_ic, &ic[0], RDSVB, S_volt, B);
		adBmsReadData(total_ic, &ic[0], RDSVA, S_volt, A);
		adBmsReadData(total_ic, &ic[0], RDSVC, S_volt, C);
		adBmsReadData(total_ic, &ic[0], RDSVD, S_volt, D);
		adBmsReadData(total_ic, &ic[0], RDSVE, S_volt, E);
		adBmsReadData(total_ic, &ic[0], RDSVF, S_volt, F);
		taskEXIT_CRITICAL();

		for (uint8_t icCounter = 0; icCounter < total_ic; icCounter++) {
			for (uint8_t cell = 0; cell < 16; cell++) {
				if (ic[icCounter].cccrc.scell_pec == 1)
					pecflag = 1;
				else {
					voltage[icCounter][1][cell] = getVoltage(
							ic[icCounter].scell.sc_codes[cell]);
					//				printf("tekpack:%d,", (icCounter));
					//				printf("C%d=%fV,", (cell + 1), voltage[icCounter][1][cell]);
					//				printf("\n");

				}
			}
		}
		for (uint8_t icCounter = 0; icCounter < total_ic; icCounter++) {
			for (uint8_t cell = 0; cell < 16; cell++) {
				for (uint8_t cifttek = 0; cifttek < 2; cifttek++) {
									//printf("ic:%d cell %d %d: %f\n", icCounter, cell + 1, cifttek,
										//	voltage[icCounter][cifttek][cell]);
					if (voltage[icCounter][cifttek][cell] < 2
							|| voltage[icCounter][cifttek][cell] > 4.5) {
						//printf("HATA:%d\n",cell+1);
						cellOWflag = 1;
					}

				}

			}

		}

		//SECTION OF TEMPERATURE OPEN WIRE DETECTION AND TEMPERATURE READING
		//
		//
        //SLAVE TEMPERATURE
//		adBmsCsLow();
//		vTaskDelay(4);
//		adBmsCsHigh();
//		vTaskDelay(4);
		taskENTER_CRITICAL();
		adBmsWakeupIc(total_ic);
		adBmsWriteData(total_ic, &ic[0], WRCFGA, Config, A);
		adBms6830_Adax_ALL(AUX_OW_OFF, PUP_DOWN, AUX_ALL,total_ic);
		adBmsReadData(total_ic, &ic[0], RDAUXA, Aux, A);
		taskEXIT_CRITICAL();

		for (uint8_t icCounter = 0; icCounter < total_ic; icCounter++) {
			ic[icCounter].TempOpenWire = 0;

			ic[icCounter].board_temp = ((getVoltage(ic[icCounter].aux.a_codes[0]))-0.4)*50;

			if(ic[icCounter].board_temp > SLAVE_OVER_HEAT_TRESHOLD) slaveOHeatflag = 1;

			if(dummyflag == 0)
			{
				MaxSlaveHeat = ic[icCounter].board_temp;
				dummyflag = 1;
		    }

			if(ic[icCounter].board_temp > MaxSlaveHeat)
			{
				MaxSlaveHeat = ic[icCounter].board_temp;
			}
	        //CELL TEMPERATURE
			//adBmsWakeupIc(total_ic);
			for (uint8_t ntcSellection = 0; ntcSellection < 16;
					ntcSellection++) {

				ic[icCounter].tx_cfga.gpo = ntcSellectionList[ntcSellection]
						<< 6 | 0x3F;

				taskENTER_CRITICAL();
				adBmsWakeupIc(total_ic);
				adBmsWriteData(total_ic, &ic[0], WRCFGA, Config, A);
				adBms6830_Adax_ALL(AUX_OW_OFF, PUP_DOWN, AUX_ALL,total_ic);
				adBmsWakeupIc(total_ic);
				adBmsReadData(total_ic, &ic[0], RDAUXB, Aux, B);
				adBmsReadData(total_ic, &ic[0], RDSTATA, Status, A);
				taskEXIT_CRITICAL();

				if (ic[icCounter].cccrc.aux_pec != 1)  {
					//FAULTS

					if (abs(getVoltage(ic[icCounter].aux.a_codes[5])- getVoltage(ic[icCounter].stata.vref2))< 0.001) {
						ic[icCounter].TempOpenWire |= 1 << ntcSellection;
						tempOWflag=1;
					}
					else ic[icCounter].mesured_cell_temps[ntcSellection] =
							Thermistor(getVoltage(ic[icCounter].aux.a_codes[5]),
									getVoltage(ic[icCounter].stata.vref2));
					//printf("ntc%d:%f %f \n",ntcSellection+1,ic[icCounter].mesured_cell_temps[ntcSellection],getVoltage(ic[icCounter].aux.a_codes[5]));
				    }

					if (ic[icCounter].mesured_cell_temps[ntcSellection]>CELL_OVER_HEAT_TRESHOLD) {
						overHeatflag=1;
					}

					if (ic[icCounter].mesured_cell_temps[ntcSellection]<CELL_UNDER_HEAT_TRESHOLD) {
						underHeatflag=1;
					}

					//MAINBUFFER CALCULATIONS
					if(dummyflag2 == 0)
					{
						MaxCellHeat = ic[icCounter].mesured_cell_temps[ntcSellection];
						MinCellHeat = ic[icCounter].mesured_cell_temps[ntcSellection];
						dummyflag2 = 1;
					}

					TotalCellHeat += ic[icCounter].mesured_cell_temps[ntcSellection];

					if(ic[icCounter].mesured_cell_temps[ntcSellection] > MaxCellHeat)
					{
						MaxCellHeat = ic[icCounter].mesured_cell_temps[ntcSellection];
					}

					if(ic[icCounter].mesured_cell_temps[ntcSellection] < MinCellHeat)
					{
						MinCellHeat = ic[icCounter].mesured_cell_temps[ntcSellection];
					}

					vTaskDelay(3);

			}

		}
		//MAINBUFFER LOADING
		MAINBUFFER[PACK_MAX_CELL_TEMP] = (uint16_t) (MaxCellHeat*100);
		MAINBUFFER[PACK_MIN_CELL_TEMP] = (uint16_t) (MinCellHeat*100);
		MAINBUFFER[PACK_AVG_CELL_TEMP] = (uint16_t) ((TotalCellHeat/(16.0*total_ic))*100.0);
		MAINBUFFER[PACK_MAX_SLAVE_TEMP] = (uint16_t) (MaxSlaveHeat*100);

        dummyflag = 0;
        dummyflag2 = 0;
        TotalCellHeat = 0;

        //FAULT

		if (pecflag == 1) {

			if (SlaveOpenWiretick == 0) SlaveOpenWiretick = xTaskGetTickCount();
			else if(xTaskGetTickCount()-SlaveOpenWiretick >= MAINBUFFER[OPEN_WIRE_ERROR_DELAY]){
				MAINBUFFER[FAULTS] |= 1;
				faultLatch();
			}
			pecflag = 0;

		} else{

			MAINBUFFER[FAULTS] &= ~(1);
			SlaveOpenWiretick = 0;
		}

		if (cellOWflag == 1) {
			if (CellOpenWiretick == 0) CellOpenWiretick = xTaskGetTickCount();
			else if(xTaskGetTickCount()-CellOpenWiretick >= MAINBUFFER[OPEN_WIRE_ERROR_DELAY]){
				MAINBUFFER[FAULTS] |= 1 << 7;
				faultLatch();
			}
			cellOWflag = 0;

		} else{
			MAINBUFFER[FAULTS] &= ~(1 << 7);
			CellOpenWiretick = 0;
		}

		if (tempOWflag == 1) {
			if (TempOpenWiretick == 0) TempOpenWiretick = xTaskGetTickCount();
			else if(xTaskGetTickCount()-TempOpenWiretick >= MAINBUFFER[HEAT_ERROR_DELAY]){
				MAINBUFFER[FAULTS] |= 1 << 12;
				faultLatch();
			}
			tempOWflag = 0;

		} else{
			MAINBUFFER[FAULTS] &= ~(1 << 12);
			TempOpenWiretick = 0;
		}

		if (slaveOHeatflag == 1) {
			if (SlaveOverHeattick == 0) SlaveOverHeattick = xTaskGetTickCount();
			else if(xTaskGetTickCount()-SlaveOverHeattick >= MAINBUFFER[HEAT_ERROR_DELAY]){
				MAINBUFFER[FAULTS] |= 1 << 9;
				faultLatch();
			}
			slaveOHeatflag = 0;

		} else{
			MAINBUFFER[FAULTS] &= ~(1 << 9);
			SlaveOverHeattick = 0;
		}

		if (overHeatflag == 1) {
			if (CellOverHeattick == 0) CellOverHeattick = xTaskGetTickCount();
			else if(xTaskGetTickCount()-CellOverHeattick >= MAINBUFFER[HEAT_ERROR_DELAY]){
				MAINBUFFER[FAULTS] |= 1 << 6;
				faultLatch();
			}
			overHeatflag = 0;

		} else{
			MAINBUFFER[FAULTS] &= ~(1 << 6);
			CellOverHeattick = 0;
		}

		if (underHeatflag == 1) {
			if (CellUnderHeattick == 0) CellUnderHeattick = xTaskGetTickCount();
			else if(xTaskGetTickCount()-CellUnderHeattick >= MAINBUFFER[HEAT_ERROR_DELAY]){
				MAINBUFFER[FAULTS] |= 1 << 5;
				faultLatch();
			}
			underHeatflag = 0;

		} else{
			MAINBUFFER[FAULTS] &= ~(1 << 5);
			CellUnderHeattick = 0;
		}

		faultLatch();
		vTaskDelay(20);

	}

}
static void vMeasure_Precharge(void *parameter) {

	uint8_t SCflag = 0;

	uint32_t prechargetick = 0;
	uint32_t PackOverVoltagetick = 0;
	uint32_t PackUnderVoltagetick = 0;
	uint32_t DischargeOverCurrenttick = 0;
	uint32_t ChargeOverCurrenttick = 0;
	uint32_t NoCurrentSensortick = 0;

	float current = 0;

	for (;;)
	{

		Get_ADC_Data();

		volt_bc = ((float) adc_data[0] - 56.15) / 5.083;
		volt_ac = ((float) adc_data[1] - 56.15) / 5.083;

		if(!IsSCActive()) //if SC is not active close the contactors
		{
			HAL_GPIO_WritePin(AIR__OUT_GPIO_Port, AIR__OUT_Pin, 0);
			MAINBUFFER[OUTPUTS] &= ~(1);
			SCflag = 0;
		}

	    if(IsSCActive() && SCflag == 0) //if sc is active for the first time
	    {
	    	if (volt_ac<=(volt_bc* (float)MAINBUFFER[PRECHARGE_PERCENTAGE]/100.0)){
	    		if(prechargetick == 0)//if timer is active for the first time
	    		{
	    			prechargetick=xTaskGetTickCount();
	    		}

	    		else if(xTaskGetTickCount()-prechargetick >= MAINBUFFER[PRECHARGE_TIMEOUT])
	    		{
	    			MAINBUFFER[FAULTS] |= 1 << 13;
	    			faultLatch();
	    			HAL_GPIO_WritePin(PRE_OUT_GPIO_Port, PRE_OUT_Pin, 0);
					MAINBUFFER[OUTPUTS] &= ~(1 << 1);
	    		}

				if ((((MAINBUFFER[FAULTS] >> 13) & 1) != 1)) {
		    		HAL_GPIO_WritePin(PRE_OUT_GPIO_Port, PRE_OUT_Pin, 1);
		    		MAINBUFFER[OUTPUTS] |= 1 << 1;
				}

	    	}else {
	    		prechargetick = 0;

	    		HAL_GPIO_WritePin(PRE_OUT_GPIO_Port, PRE_OUT_Pin, 0);
	    		MAINBUFFER[OUTPUTS] &= ~(1 << 1);

	    		HAL_GPIO_WritePin(AIR__OUT_GPIO_Port, AIR__OUT_Pin, 1);
	    		MAINBUFFER[OUTPUTS] |= 1 << 2;

	    		MAINBUFFER[FAULTS] &= ~(1 << 13);
	    		SCflag = 1;
	    	}
	    }

	    //MAINBUFFER LOADING
	    MAINBUFFER[PACK_VOLTAGE] = (uint16_t)(volt_bc*100);
	    if (current < 0.5 && current > -0.5) MAINBUFFER[PACK_CURRENT] = (uint16_t)(0*10);
	    else MAINBUFFER[PACK_CURRENT] = (uint16_t)(current*10);

	    //FAULT PROCESS
		if (((adc_data[2]*0.805)<301.0) || ((adc_data[2]*0.805)>3031.0) ){

			if(NoCurrentSensortick==0) NoCurrentSensortick=xTaskGetTickCount();
			else if(xTaskGetTickCount()-NoCurrentSensortick >= MAINBUFFER[OPEN_WIRE_ERROR_DELAY]){
				MAINBUFFER[FAULTS] |= 1 << 8;
				faultLatch();
			}

		}else{
			current = (((float)adc_data[2]*0.80586)-1667.32139)/3.10382376;
			NoCurrentSensortick=0;
			MAINBUFFER[FAULTS] &= ~(1 << 8);
		}

	    if (volt_bc > BATTERY_OVER_VOLTAGE_TRESHOLD)
	    {
	    	if(PackOverVoltagetick==0) PackOverVoltagetick=xTaskGetTickCount();
			else if(xTaskGetTickCount()-PackOverVoltagetick >= MAINBUFFER[OVER_VOLTAGE_ERROR_DELAY]){
		    	MAINBUFFER[FAULTS] |= 1 << 11;
				faultLatch();
			}

	    }else
	    {
	    	PackOverVoltagetick = 0;
	    	MAINBUFFER[FAULTS] &= ~(1 << 11);
	    }

	    if (volt_bc < BATTERY_UNDER_VOLTAGE_TRESHOLD)
	    {
	    	if(PackUnderVoltagetick==0) PackUnderVoltagetick=xTaskGetTickCount();
			else if(xTaskGetTickCount()-PackUnderVoltagetick >= MAINBUFFER[UNDER_VOLTAGE_ERROR_DELAY]){
		    	MAINBUFFER[FAULTS] |= 1 << 10;
				faultLatch();
			}

	    }else
	    {
	    	PackUnderVoltagetick = 0;
	    	MAINBUFFER[FAULTS] &= ~(1 << 10);
	    }
	    if (current > (double)MAINBUFFER[DISCHARGE_OVER_CURRENT_TRESHOLD]/10.0)
	    {
	    	if(DischargeOverCurrenttick==0) DischargeOverCurrenttick=xTaskGetTickCount();
			else if(xTaskGetTickCount()-DischargeOverCurrenttick >= MAINBUFFER[OVER_CURRENT_ERROR_DELAY]){
		    	MAINBUFFER[FAULTS] |= 1 << 3;
				faultLatch();
			}

	    }else
	    {
	    	DischargeOverCurrenttick = 0;
	    	MAINBUFFER[FAULTS] &= ~(1 << 3);
	    }

		if (current < ((double)(signed short int)MAINBUFFER[CHARGE_OVER_CURRENT_TRESHOLD])/10.0)
		{
	    	if(ChargeOverCurrenttick==0) ChargeOverCurrenttick=xTaskGetTickCount();
			else if(xTaskGetTickCount()-ChargeOverCurrenttick >= MAINBUFFER[OVER_CURRENT_ERROR_DELAY]){
				MAINBUFFER[FAULTS] |= 1 << 4;
				faultLatch();
			}

		}else
		{
			ChargeOverCurrenttick = 0;
			MAINBUFFER[FAULTS] &= ~(1 << 4);
		}

		faultLatch();
		vTaskDelay(5);

	}

}

static void vSoCTASK(void *parameter) {

	float SoC = 0;
	signed short int current;
	signed short int temperature;

	BatterySOCEstimationV2_initialize();

	Get_ADC_Data();

	rtU.OCV = (((float) adc_data[0] - 56.15) / 5.083)/total_ic*16.0; //OCV için araç açıldığı anda alınan voltaj değeri gerekli

	for(;;)
	{
		current = (signed short int) MAINBUFFER[PACK_CURRENT];
		temperature = (signed short int) MAINBUFFER[PACK_AVG_CELL_TEMP];

		//SoC Section
	    rtU.current = -1*((double)current)/10;
	    rtU.TerminalVoltage = ((double)MAINBUFFER[PACK_AVG_CELL_VOLTAGE])/100;
	    rtU.Temperature = ((double)temperature)/100;
	    BatterySOCEstimationV2_step();
	    SoC = rtY.SoC;

	    MAINBUFFER[OPEN_CIRCUIT_VOLTAGE] = (uint16_t)(rtU.OCV*100.0);
	    MAINBUFFER[ESTIMATED_SoC] = (uint16_t) (SoC*10000.0);

	    vTaskDelay(50);
	}
}

static void vChargeControl(void *parameter) {

	CHARG_STATE CHARGER = NO_CHARGER;

	uint8_t TXCharger[8];
    uint8_t BalanceEndflag = 1;

	for (;;)
	{
		//MAINBUFFER LOADING
		MAINBUFFER[CHARGING_STATE] = CHARGER;

		vTaskDelay(500);

		//IF WE COMMUNICATE WITH VCU, THERE IS NO NEED FOR THIS TASK
		if(VCUflag == 1)
		{
			vTaskDelete(NULL);
			vTaskDelay(portMAX_DELAY);
		}

		//CHECKING FOR ARE WE COMMUNICATING WITH CHARGER
		else if (VCUflag == 0 && Chargerflag == 0)
		{
			//baud rate değiştir
			HAL_CAN_Stop(&hcan1);
			HAL_CAN_DeInit(&hcan1);
		    hcan1.Init.Prescaler = 24;
		    hcan1.Init.TimeSeg1 = CAN_BS1_3TQ;
		    hcan1.Init.TimeSeg2 = CAN_BS2_1TQ;
			HAL_CAN_Init(&hcan1);
			HAL_CAN_Start(&hcan1);
			HAL_CAN_ActivateNotification(&hcan1, CAN_IT_RX_FIFO0_MSG_PENDING);

			ulTaskNotifyTake(pdFALSE,1500);

			if(Chargerflag == 0)
			{
				HAL_CAN_Stop(&hcan1);
				HAL_CAN_DeInit(&hcan1);
			    hcan1.Init.Prescaler = 12; //6;
			    hcan1.Init.TimeSeg1 = CAN_BS1_3TQ;
			    hcan1.Init.TimeSeg2 = CAN_BS2_1TQ;
				HAL_CAN_Init(&hcan1);
				HAL_CAN_Start(&hcan1);
				HAL_CAN_ActivateNotification(&hcan1, CAN_IT_RX_FIFO0_MSG_PENDING);
			}

		}
		//IF WE COMMUNICATE WITH CHARGER GET IN
		else if(Chargerflag == 1)
		{
			if(IsSCActive())
			{
				if(CHARGER == NO_CHARGER) CHARGER = CHARGING;
			}

			switch(CHARGER)
			{

				case CHARGING:
				{

					TxHeader.IDE = CAN_ID_EXT;
					TxHeader.ExtId = 0x1806E5F4;
					TxHeader.DLC = 8;

					TXCharger[0]= (uint8_t)((MAINBUFFER[CHARGER_SET_VOLTAGE]/10) >> 8);
					TXCharger[1]= (uint8_t)(MAINBUFFER[CHARGER_SET_VOLTAGE]/10) ;
					TXCharger[2]= (uint8_t) (MAINBUFFER[CHARGER_SET_CURRENT] >> 8);
					TXCharger[3]= (uint8_t) MAINBUFFER[CHARGER_SET_CURRENT] ;
					TXCharger[4]= 0;
					TXCharger[5]= 0;
					TXCharger[6]= 0;
					TXCharger[7]= 0;
					HAL_CAN_AddTxMessage(&hcan1, &TxHeader, TXCharger, &TxMailbox);

					MAINBUFFER[CHARGER_ACTUAL_VOLTAGE] = MAINBUFFER[PACK_VOLTAGE];
					MAINBUFFER[CHARGER_ACTUAL_CURRENT] = MAINBUFFER[PACK_CURRENT];

					if(RxData[4] != 0)
					{
						HAL_GPIO_WritePin(ERROR_OUT_GPIO_Port, ERROR_OUT_Pin, 0);
					}
					else HAL_GPIO_WritePin(ERROR_OUT_GPIO_Port, ERROR_OUT_Pin, 1);

					if((MAINBUFFER[PACK_VOLTAGE] >= MAINBUFFER[CHARGER_SET_VOLTAGE]-100)
						&& ((signed short int)MAINBUFFER[PACK_CURRENT] >= -1))
					{
						TxHeader.IDE = CAN_ID_EXT;
						TxHeader.ExtId = 0x1806E5F4;
						TxHeader.DLC = 8;
						TXCharger[0]= (uint8_t)((MAINBUFFER[CHARGER_SET_VOLTAGE]/10) >> 8);
						TXCharger[1]= (uint8_t)(MAINBUFFER[CHARGER_SET_VOLTAGE]/10) ;
						TXCharger[2]= (uint8_t) (MAINBUFFER[CHARGER_SET_CURRENT] >> 8);
						TXCharger[3]= (uint8_t) MAINBUFFER[CHARGER_SET_CURRENT] ;
						TXCharger[4]= 1;
						TXCharger[5]= 0;
						TXCharger[6]= 0;
						TXCharger[7]= 0;
						HAL_CAN_AddTxMessage(&hcan1, &TxHeader, TXCharger, &TxMailbox);

						HAL_GPIO_WritePin(AIR__OUT_GPIO_Port, AIR__OUT_Pin, 0);

						CHARGER = BALANCING;
					}
					break;
				}
				case BALANCING:
				{

					for (uint8_t icCounter = 0; icCounter < total_ic; icCounter++) {
						for (uint8_t cellCounter = 0; cellCounter < 16; cellCounter++) {

							if((float)(MAINBUFFER[PACK_MAX_CELL_VOLTAGE]/100.0)-ic[icCounter].mesured_cell_voltages[cellCounter]
								> (float)MAINBUFFER[ALLOWED_DISBALANCE]/1000.0){

								ic[icCounter].tx_cfgb.dcc |= 1 << cellCounter ;
								BalanceEndflag = 0;

							}else ic[icCounter].tx_cfgb.dcc &= ~(1 << cellCounter);

						}
					}

					adBmsWakeupIc(total_ic);
					adBmsWriteData(total_ic, &ic[0], WRCFGA, Config, A);
					adBmsWriteData(total_ic, &ic[0], WRCFGB, Config, B);

					if(BalanceEndflag == 1)
					{
						CHARGER = CHARGING_COMPLETED;
					}

					BalanceEndflag = 1;

					break;
				}
				default:
				    break;

			}

		}

	}
}

static void vVCUcom(void *parameter) {

	union  CAN_Union {
		uint8_t sendBuffer8bit[8];
	    uint16_t sendBuffer16bit[4];
	}canSend;

	ulTaskNotifyTake(pdFALSE,portMAX_DELAY);

	for (;;)
	{
		if(RxHeader.StdId == VCU_ID)
		{
			if(RxData[0] == RaceMode || RxData[0]== NormalMode){
				VehicleMode = RxData[0];
			}
		}

		TxHeader.IDE = CAN_ID_STD;
		TxHeader.StdId = BMS_CAN_ID_VOLTAGES;
		TxHeader.DLC = 8;
		canSend.sendBuffer16bit[0] = MAINBUFFER[PACK_MAX_CELL_VOLTAGE];
		canSend.sendBuffer16bit[1] = MAINBUFFER[PACK_MIN_CELL_VOLTAGE];
		canSend.sendBuffer16bit[2] = MAINBUFFER[PACK_AVG_CELL_VOLTAGE];
		canSend.sendBuffer16bit[3] = MAINBUFFER[PACK_TOTAL_CELL_VOLTAGE];
		HAL_CAN_AddTxMessage(&hcan1, &TxHeader, canSend.sendBuffer8bit, &TxMailbox);

		vTaskDelay(1);

		TxHeader.StdId = BMS_CAN_ID_FAULTSandMODE;
		TxHeader.DLC = 3;
		canSend.sendBuffer16bit[0] = MAINBUFFER[FAULTS];
		canSend.sendBuffer16bit[1] = VehicleMode;
		HAL_CAN_AddTxMessage(&hcan1, &TxHeader, canSend.sendBuffer8bit, &TxMailbox);

		vTaskDelay(1);

		TxHeader.StdId = BMS_CAN_ID_TEMPS;
		TxHeader.DLC = 8;
		canSend.sendBuffer16bit[0] = MAINBUFFER[PACK_MAX_CELL_TEMP];
		canSend.sendBuffer16bit[1] = MAINBUFFER[PACK_MIN_CELL_TEMP];
		canSend.sendBuffer16bit[2] = MAINBUFFER[PACK_AVG_CELL_TEMP];
		canSend.sendBuffer16bit[3] = MAINBUFFER[PACK_MAX_SLAVE_TEMP];
		HAL_CAN_AddTxMessage(&hcan1, &TxHeader, canSend.sendBuffer8bit, &TxMailbox);

		vTaskDelay(1);

		TxHeader.StdId = BMS_CAN_ID_PACKandSoC;
		TxHeader.DLC = 8;
		canSend.sendBuffer16bit[0] = MAINBUFFER[PACK_CURRENT];
		canSend.sendBuffer16bit[1] = MAINBUFFER[PACK_VOLTAGE];
		canSend.sendBuffer16bit[2] = MAINBUFFER[ESTIMATED_SoC];
		canSend.sendBuffer16bit[3] = MAINBUFFER[OPEN_CIRCUIT_VOLTAGE];
		HAL_CAN_AddTxMessage(&hcan1, &TxHeader, canSend.sendBuffer8bit, &TxMailbox);

		vTaskDelay(5);

	}
}

static void vUSBTASK(void *parameter) {

	for (;;)
	{
		ulTaskNotifyTake(pdFALSE,portMAX_DELAY);

		switch (usblen){
		case 1:

			if (*usbbuf == 41){ //ALL VOLTAGES WILL BE SENT
				union data{
				        uint16_t twobytes[97];
				        uint8_t onebytes[194];
				} data;
				for (uint8_t icCounter = 0; icCounter < total_ic; icCounter++) {
					for (uint8_t cell = 0; cell < 16; cell++) {
						data.twobytes[((icCounter*16)+(cell))] = (uint16_t)(ic[icCounter].mesured_cell_voltages[cell]*100.0) ;
					}
				}
				data.onebytes[192] = 41;
				data.onebytes[193] = calculateCRC8(data.twobytes, 193);
				CDC_Transmit_FS(data.onebytes,194);
			}

			else if (*usbbuf == 42){ //ALL TEMPS WILL BE SENT
				union data{
				        uint16_t twobytes[97];
				        uint8_t onebytes[194];
				} data;
				for (uint8_t icCounter = 0; icCounter < total_ic; icCounter++) {
					for (uint8_t cell = 0; cell < 16; cell++) {
						data.twobytes[((icCounter*16)+(cell))] = (uint16_t)(ic[icCounter].mesured_cell_temps[cell]*100.0) ;
					}
				}
				data.onebytes[192] = 42;
				data.onebytes[193] = calculateCRC8(data.twobytes, 193);
				CDC_Transmit_FS(data.onebytes,194);
			}

			else if (*usbbuf == 43){ // BALANCE STATUS OF ALL CELL WILL BE SENT
				union data{
				        uint16_t twobytes[7];
				        uint8_t onebytes[14];
				} data;
				for (uint8_t icCounter = 0; icCounter < total_ic; icCounter++) {
					data.twobytes[icCounter] = ic[icCounter].tx_cfgb.dcc ;
				}
				data.onebytes[12] = 43;
				data.onebytes[13] = calculateCRC8(data.twobytes, 13);
				CDC_Transmit_FS(data.onebytes, 14);
			}

			else {
				USBTransmit2bytes(MAINBUFFER[*usbbuf] , *usbbuf);
			}

		    break;
		case 2:
			if (*usbbuf == 0x17 && *(usbbuf+1)==0x71)
			{
			  CDC_Transmit_FS((uint8_t*) usbbuf, 2);
			}
			break;
		case 3:
			MAINBUFFER[*usbbuf] = (*(usbbuf+2)<<8 | *(usbbuf+1));
			EEPROM_SetConfigs((uint8_t *)MAINBUFFER, sizeof(MAINBUFFER));
			EEPROM_GetConfigs((uint8_t *)MAINBUFFER, sizeof(MAINBUFFER));

			USBTransmit2bytes( MAINBUFFER[*usbbuf] , *usbbuf);
			//CDC_Transmit_FS((uint8_t*) &MAINBUFFER[*usbbuf], 2);
			break;

		default:
			break;

		}

	}

}

void HAL_ADC_ConvCpltCallback (ADC_HandleTypeDef *hadc)
{
	analogAveragingBuffer[convCount][0] = adc_buffer[0];
	analogAveragingBuffer[convCount][1] = adc_buffer[1];
	analogAveragingBuffer[convCount][2] = adc_buffer[2];

	convCount++;
	if(convCount >= 500) convCount = 0;
//	HAL_ADC_Start_DMA(&hadc1,  adc_buffer, 3);
}

void Get_ADC_Data(){

	for(uint8_t ucekadarsay =0; ucekadarsay<3; ucekadarsay++){
		adc_data[ucekadarsay]=0;
		for(uint16_t besyuzekadarsay =0; besyuzekadarsay<500; besyuzekadarsay++){
			adc_data[ucekadarsay] += analogAveragingBuffer[besyuzekadarsay][ucekadarsay];
		}
		adc_data[ucekadarsay]/=500;
	}
}

void USBTransmit2bytes( uint16_t TransmittBuffer , uint8_t transmittID){
	 union transmitt{
	        uint16_t twobytes[2];
	        uint8_t onebytes[4];
	    } transmitt;

	 transmitt.twobytes[0] =  TransmittBuffer ;
	 transmitt.onebytes[2] =  transmittID;
	 transmitt.onebytes[3] =  calculateCRC8(transmitt.onebytes, 3);

	CDC_Transmit_FS(transmitt.onebytes, 4);

}

uint8_t calculateCRC8(uint16_t *calculateData, uint8_t length) {
	 union data{
	        uint16_t twobytes[length/2];
	        uint8_t onebytes[length];
	    } data;

	memcpy(data.twobytes , calculateData ,length );
    uint8_t crc = 0x00;  // CRC başlangıç değeri
    for (size_t i = 0; i < length; i++) {
        crc ^= data.onebytes[i];  // Veri baytını CRC ile XOR yap
        for (uint8_t j = 0; j < 8; j++) {  // Her bir bit için döngü
            if (crc & 0x80) {  // Eğer en yüksek bit 1 ise
                crc = (crc << 1) ^ 0x07;  // CRC'yi sola kaydır ve polinom ile XOR yap
            } else {
                crc <<= 1;  // Sadece sola kaydır
            }
        }
    }
    return crc;  // Hesaplanan CRC8 değerini döndür
}

void faultLatch() {

	if(VehicleMode != RaceMode)
	{
		//OPEN WIRE FAULT
			if (MAINBUFFER[FAULTS]!=0 ) {
				HAL_GPIO_WritePin(ERROR_OUT_GPIO_Port, ERROR_OUT_Pin, 0);
				MAINBUFFER[OUTPUTS] |= 1 << 2;

			}

		    //NO FAULT HAPPENED
			else {
				HAL_GPIO_WritePin(ERROR_OUT_GPIO_Port, ERROR_OUT_Pin, 1);
				MAINBUFFER[OUTPUTS] &= ~(1 << 2);
			}

	}
	else {
		HAL_GPIO_WritePin(ERROR_OUT_GPIO_Port, ERROR_OUT_Pin, 1);
		MAINBUFFER[OUTPUTS] &= ~(1 << 2);
	}

}

uint8_t IsSCActive()
{
	return HAL_GPIO_ReadPin(SC_END_GPIO_Port, SC_END_Pin);
}

void USB_Handler(uint8_t *Buf, uint8_t Len) {

	BaseType_t pxHigherPriorityTaskWoken = pdFALSE;

	usbbuf = Buf;
	usblen = Len;
	vTaskNotifyGiveFromISR(USBTASK,&pxHigherPriorityTaskWoken);
	portYIELD_FROM_ISR(pxHigherPriorityTaskWoken);

}

int _write(int fd, char *ptr, int len) {
	HAL_UART_Transmit(&huart3, (uint8_t*) ptr, len, HAL_MAX_DELAY);
	return len;
}
/* USER CODE END 4 */

void HAL_TIM_PeriodElapsedCallback(TIM_HandleTypeDef *htim)
{
  if (htim->Instance == TIM6) {
    HAL_IncTick();
  }
}

void Error_Handler(void)
{
	__disable_irq();
	while (1) {
	}
}
